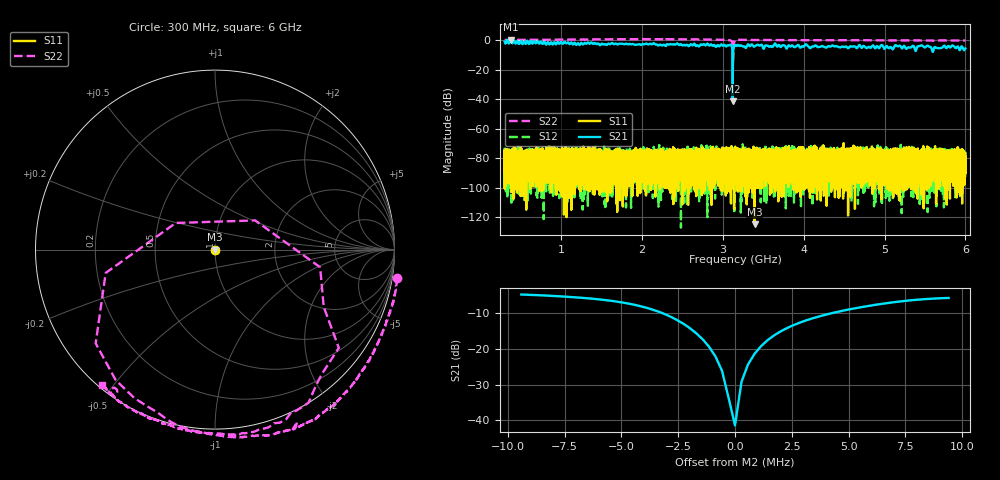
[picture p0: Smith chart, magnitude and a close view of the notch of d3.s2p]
!Agilent Technologies,N5230C,SG49000117,A.08.50.07
!Agilent N5230C: A.08.50.07
!Date: Sunday, March 17, 2024 09:19:34
!Correction: S11(Off)
!S21(Off)
!S12(Off)
!S22(Full 1 Port(2))
!S2P File: Measurements: S11, S21, S12, S22:
# Hz S  RI  R 50
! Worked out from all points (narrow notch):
!   20001 points, 300 MHz to 6 GHz, reference 50 ohm
!   highest |S21| = 0.47 dB at 374.4 MHz (marker M1); lowest = -41.4 dB at 3.122 GHz (marker M2)
!   notch at M2: 38.0 dB deep, 1.58 MHz wide at half that depth
!   lowest |S11| = -125.0 dB at 3.393 GHz (marker M3), VSWR 1.00, Z = 50 + j3.81e-05 ohm
!   |S11| at or under -10 dB: start of sweep to end of sweep
!   |S22| runs from -14.7 to 0.8 dB; largest |S21 - S12| = 1.1
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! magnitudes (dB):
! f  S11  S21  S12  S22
! 300 MHz  -89.5  -0.9  -80.1  0.2
! 374.4 MHz  -81.0  0.5  -80.6  0.3
! 1.25 GHz  -90.0  -1.7  -76.8  0.5
! 2.2 GHz  -92.5  -3.5  -76.8  0.8
! 3.08 GHz  -81.9  -3.4  -76.0  0.1
! 3.1 GHz  -73.9  -3.1  -79.1  -0.3
! 3.122 GHz  -95.6  -41.4  -87.5  -8.7
! 3.15 GHz  -80.7  -3.0  -83.9  0.0
! 3.157 GHz  -82.0  -3.5  -78.4  0.1
! 3.175 GHz  -78.3  -3.6  -88.0  0.3
! 3.393 GHz  -125.0  -4.1  -84.0  0.2
! 3.975 GHz  -78.4  -4.1  -84.6  0.1
! 4.032 GHz  -98.1  -2.8  -81.0  0.1
! 4.1 GHz  -82.3  -4.2  -85.2  0.1
! 5.05 GHz  -84.4  -5.4  -77.9  0.0
! 5.157 GHz  -85.6  -4.0  -82.0  0.0
! 5.392 GHz  -74.3  -6.6  -81.9  0.0
! 5.451 GHz  -81.4  -3.5  -77.8  0.0
! 5.547 GHz  -87.2  -4.2  -76.1  -0.1
! 5.606 GHz  -88.2  -6.7  -76.0  -0.3
! 5.842 GHz  -84.1  -3.5  -77.0  -0.1
! 6 GHz  -82.3  -5.5  -80.2  -0.2
